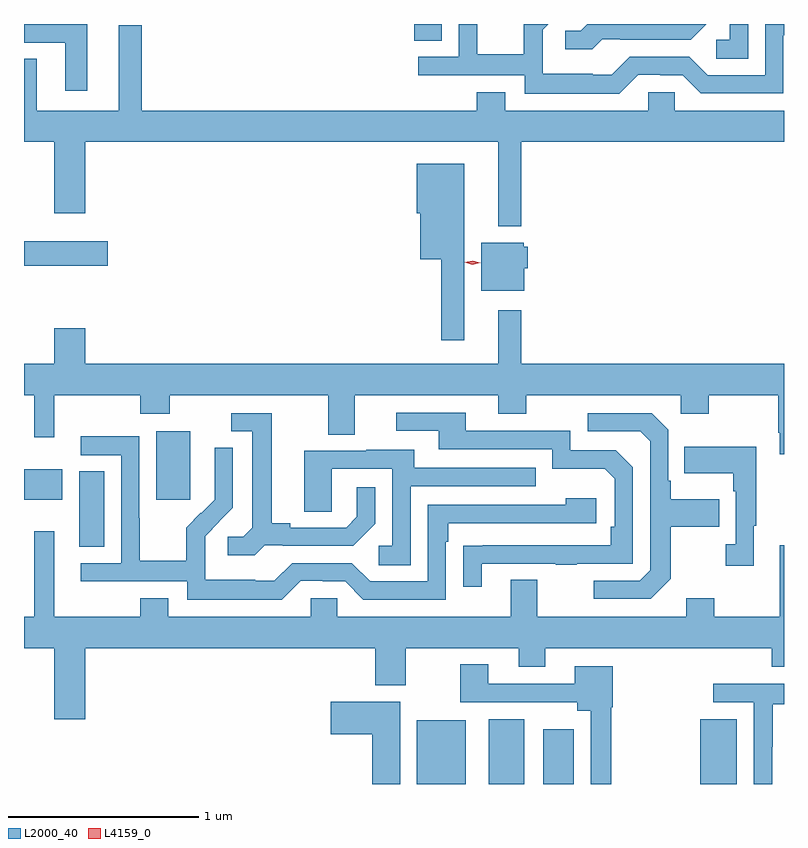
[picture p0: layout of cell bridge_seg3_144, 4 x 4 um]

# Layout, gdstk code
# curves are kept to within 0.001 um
import gdstk
lib = gdstk.Library(unit=1e-6, precision=1e-09)
def R(c, l, rs):  # rectangles x0, y0, x1, y1
    for r in rs: c.add(gdstk.rectangle(r[:2], r[2:], *l))
def P(c, l, *ps):  # polygons
    for p in ps: c.add(gdstk.Polygon(p, *l))
L2000_40 = (2000, 40)
L4159_0 = (4159, 0)

bridge_seg3_144 = lib.new_cell('bridge_seg3_144')
R(bridge_seg3_144, L2000_40, [(370.712,692.209,370.969,692.545), (371.09,692.209,371.278,692.551), (371.378,692.209,371.539,692.497), (372.203,692.209,372.397,692.551), (368.936,693.457,369.067,693.854), (368.645,693.704,368.845,693.865), (369.341,693.705,369.52,694.066), (368.645,694.936,369.085,695.065), (370.7,696.121,370.843,696.209)])
P(bridge_seg3_144, L2000_40, [(371.688,696.129),(371.782,696.129),(371.782,696.126),(372.154,696.126),(372.237,696.209),(371.609,696.209),(371.574,696.174),(371.493,696.174),(371.493,696.077),(371.636,696.077)],
  [(372.456,696.209),(372.36,696.209),(372.36,696.126),(372.288,696.126),(372.288,696.025),(372.456,696.025)],
  [(371.877,695.943),(371.993,695.943),(371.993,695.94),(372.111,695.94),(372.207,695.844),(372.642,695.844),(372.642,696.149),(372.645,696.149),(372.645,696.209),(372.546,696.209),(372.546,695.94),(372.243,695.94),(372.147,696.036),(371.832,696.036),(371.739,695.943),(371.639,695.943),(371.639,695.947),(371.376,695.947),(371.376,696.081),(371.374,696.081),(371.374,696.178),(371.405,696.209),(371.275,696.209),(371.275,696.049),(371.031,696.049),(371.031,696.209),(370.932,696.209),(370.932,696.036),(370.719,696.036),(370.719,695.94),(371.28,695.94),(371.28,695.843),(371.777,695.843)],
  [(368.977,696.209),(368.645,696.209),(368.645,696.11),(368.861,696.11),(368.861,695.859),(368.977,695.859)],
  [(371.263,695.588),(372.645,695.588),(372.645,695.752),(372.069,695.752),(372.069,695.85),(371.931,695.85),(371.931,695.752),(371.179,695.752),(371.179,695.851),(371.027,695.851),(371.027,695.752),(369.265,695.752),(369.265,696.202),(369.143,696.202),(369.143,695.752),(368.713,695.752),(368.713,696.025),(368.645,696.025),(368.645,695.588),(368.804,695.588),(368.804,695.214),(368.968,695.214),(368.968,695.588),(371.141,695.588),(371.141,695.144),(371.263,695.144)],
  [(370.963,695.473),(370.712,695.473),(370.712,695.214),(370.73,695.214),(370.73,694.97),(370.842,694.97),(370.842,694.545),(370.963,694.545)],
  [(371.278,694.923),(371.296,694.923),(371.296,695.037),(371.274,695.037),(371.274,695.059),(371.051,695.059),(371.051,694.805),(371.278,694.805)],
  [(369.256,694.157),(369.411,694.157),(369.411,694.256),(370.247,694.256),(370.247,694.048),(370.387,694.048),(370.387,694.256),(371.141,694.256),(371.141,694.157),(371.289,694.157),(371.289,694.256),(372.102,694.256),(372.102,694.157),(372.249,694.157),(372.249,694.256),(372.616,694.256),(372.616,694.057),(372.623,694.057),(372.623,693.945),(372.645,693.945),(372.645,694.42),(371.263,694.42),(371.263,694.702),(371.141,694.702),(371.141,694.42),(368.968,694.42),(368.968,694.609),(368.804,694.609),(368.804,694.42),(368.645,694.42),(368.645,694.256),(368.699,694.256),(368.699,694.035),(368.803,694.035),(368.803,694.256),(369.256,694.256)],
  [(371.053,693.369),(371.443,693.369),(371.443,693.364),(371.555,693.364),(371.555,693.369),(371.85,693.369),(371.85,693.876),(371.76,693.966),(371.52,693.966),(371.52,694.068),(370.969,694.068),(370.969,694.164),(370.605,694.164),(370.605,694.068),(370.829,694.068),(370.829,693.972),(371.424,693.972),(371.424,693.869),(371.701,693.869),(371.754,693.816),(371.754,693.562),(371.734,693.562),(371.734,693.465),(370.957,693.464),(370.957,693.246),(371.053,693.246)],
  [(369.912,693.465),(370.006,693.465),(370.006,693.462),(370.378,693.462),(370.494,693.578),(370.494,693.772),(370.397,693.772),(370.397,693.615),(370.34,693.558),(370.045,693.558),(370.045,693.581),(369.949,693.581),(369.949,694.161),(369.735,694.161),(369.735,694.065),(369.845,694.065),(369.845,693.557),(369.798,693.51),(369.717,693.51),(369.717,693.413),(369.86,693.413)],
  [(372.049,693.289),(372.049,693.562),(372.305,693.562),(372.305,693.709),(372.049,693.709),(372.049,693.805),(372.036,693.805),(372.036,694.074),(371.949,694.161),(371.613,694.161),(371.613,694.065),(371.889,694.065),(371.94,694.014),(371.94,693.333),(371.886,693.279),(371.643,693.279),(371.643,693.183),(371.943,693.183)],
  [(370.101,693.279),(370.217,693.279),(370.217,693.276),(370.335,693.276),(370.431,693.18),(370.866,693.18),(370.866,693.485),(370.879,693.485),(370.879,693.582),(371.656,693.582),(371.656,693.712),(371.495,693.712),(371.495,693.678),(370.77,693.678),(370.77,693.276),(370.467,693.276),(370.371,693.372),(370.056,693.372),(369.963,693.279),(369.863,693.279),(369.863,693.283),(369.6,693.283),(369.6,693.417),(369.598,693.417),(369.598,693.514),(369.744,693.662),(369.744,693.98),(369.648,693.98),(369.648,693.826),(369.65,693.826),(369.65,693.704),(369.579,693.633),(369.576,693.636),(369.499,693.559),(369.499,693.385),(369.255,693.385),(369.255,693.608),(369.252,693.608),(369.252,694.038),(368.943,694.038),(368.943,693.939),(369.156,693.939),(369.156,693.372),(368.943,693.372),(368.943,693.276),(369.504,693.276),(369.504,693.179),(370.001,693.179)],
  [(372.487,693.569),(372.499,693.569),(372.499,693.985),(372.121,693.985),(372.121,693.845),(372.378,693.845),(372.378,693.749),(372.39,693.749),(372.39,693.47),(372.339,693.47),(372.339,693.357),(372.487,693.357)],
  [(370.68,693.777),(371.339,693.777),(371.339,693.873),(370.699,693.873),(370.699,693.967),(370.445,693.967),(370.445,693.963),(370.121,693.963),(370.121,693.643),(370.266,693.643),(370.266,693.867),(370.584,693.867),(370.584,693.462),(370.512,693.462),(370.512,693.361),(370.68,693.361)],
  [(368.968,692.924),(370.493,692.924),(370.493,692.73),(370.653,692.73),(370.653,692.924),(371.249,692.924),(371.249,692.825),(371.389,692.825),(371.389,692.924),(372.581,692.924),(372.581,692.825),(372.645,692.825),(372.645,693.466),(372.623,693.466),(372.623,693.088),(372.279,693.088),(372.279,693.187),(372.131,693.187),(372.131,693.088),(371.347,693.088),(371.347,693.283),(371.207,693.283),(371.207,693.088),(370.293,693.088),(370.293,693.186),(370.155,693.186),(370.155,693.088),(369.403,693.088),(369.403,693.187),(369.256,693.187),(369.256,693.088),(368.803,693.088),(368.803,693.538),(368.699,693.538),(368.699,693.088),(368.645,693.088),(368.645,692.924),(368.804,692.924),(368.804,692.55),(368.968,692.55)],
  [(371.737,692.612),(371.744,692.612),(371.744,692.83),(371.543,692.83),(371.543,692.736),(371.089,692.736),(371.089,692.839),(370.942,692.839),(370.942,692.64),(371.558,692.64),(371.558,692.594),(371.628,692.594),(371.628,692.209),(371.737,692.209)],
  [(372.582,692.404),(372.585,692.404),(372.585,692.628),(372.645,692.628),(372.645,692.736),(372.273,692.736),(372.273,692.64),(372.486,692.64),(372.486,692.209),(372.582,692.209)],
  [(370.624,692.641),(370.26,692.641),(370.26,692.471),(370.478,692.471),(370.478,692.209),(370.624,692.209)])
P(bridge_seg3_144, L4159_0, [(371.005,694.943),(370.965,694.955),(370.965,694.955),(370.965,694.955),(371.006,694.963),(371.045,694.952),(371.045,694.952),(371.045,694.952)])

lib.write_gds('bridge_seg3_144.gds')
